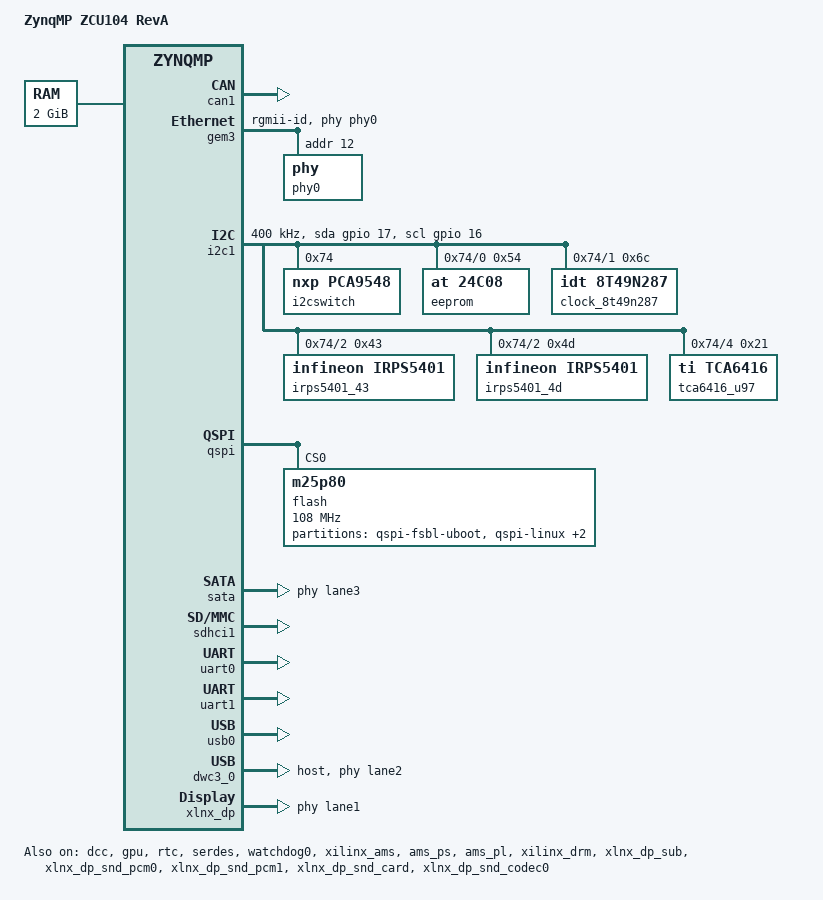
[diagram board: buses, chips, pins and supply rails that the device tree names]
/*
 * dts file for Xilinx ZynqMP ZCU104
 *
 * (C) Copyright 2017, Xilinx, Inc.
 *
 * Michal Simek <michal.simek@xilinx.com>
 *
 * This program is free software; you can redistribute it and/or
 * modify it under the terms of the GNU General Public License as
 * published by the Free Software Foundation; either version 2 of
 * the License, or (at your option) any later version.
 */

/dts-v1/;

#define PLATFORM_ZCU104

#include "zynqmp.dtsi"
#include "zynqmp-clk-ccf.dtsi"
#include <dt-bindings/gpio/gpio.h>
#include <dt-bindings/phy/phy.h>

#define CONFIG_USE_CSI
#define CONFIG_USE_SDSOC
#define CONFIG_USE_HDMI_TX
#define CONFIG_USE_HDMI_RX
#include "trd/pl.dtsi"
#include "trd/li-imx274mipi-fmc.dtsi"

/ {
	model = "ZynqMP ZCU104 RevA";
	compatible = "xlnx,zynqmp-zcu104-revA", "xlnx,zynqmp-zcu104", "xlnx,zynqmp";

	aliases {
		ethernet0 = &gem3;
		gpio0 = &gpio;
		i2c0 = &i2c1;
		mmc0 = &sdhci1;
		rtc0 = &rtc;
		serial0 = &uart0;
		serial1 = &uart1;
		serial2 = &dcc;
		spi0 = &qspi;
		usb0 = &usb0;
	};

	chosen {
		bootargs = "earlycon clk_ignore_unused earlyprintk uio_pdrv_genirq.of_id=xlnx,generic-uio consoleblank=0 cma=128M";
		stdout-path = "serial0:115200n8";
	};

	memory@0 {
		device_type = "memory";
		reg = <0x0 0x0 0x0 0x80000000>;
	};
};

&amba {
	/* IDT 8t349n287 outputs */
	hdmi_dru_clk: clock-generator-hdmi-dru-clk {
		compatible = "fixed-clock";
		#clock-cells = <0>;
		clock-frequency = <156250000>;
	};
};

&can1 {
	status = "okay";
};

&dcc {
	status = "okay";
};

&gem3 {
	status = "okay";
	phy-handle = <&phy0>;
	phy-mode = "rgmii-id";
	phy0: phy@c {
		reg = <0xc>;
		ti,rx-internal-delay = <0x8>;
		ti,tx-internal-delay = <0xa>;
		ti,fifo-depth = <0x1>;
		ti,rxctrl-strap-worka;
	};
};

&gpio {
	status = "okay";
};

&gpu {
	status = "okay";
};

&i2c1 {
	status = "okay";
	clock-frequency = <400000>;
	scl-gpios = <&gpio 16 GPIO_ACTIVE_HIGH>;
	sda-gpios = <&gpio 17 GPIO_ACTIVE_HIGH>;

	/* Another connection to this bus via PL i2c via PCA9306 - u45 */
	i2cswitch@74 { /* u34 */
		compatible = "nxp,pca9548";
		#address-cells = <1>;
		#size-cells = <0>;
		reg = <0x74>;
		i2c@0 { /* i2c mw 74 0 1 */
			#address-cells = <1>;
			#size-cells = <0>;
			reg = <0>;
			/*
			 * IIC_EEPROM 1kB memory which uses 256B blocks
			 * where every block has different address.
			 *    0 - 256B address 0x54
			 * 256B - 512B address 0x55
			 * 512B - 768B address 0x56
			 * 768B - 1024B address 0x57
			 */
			eeprom@54 { /* u23 */
				compatible = "at,24c08";
				reg = <0x54>;
				#address-cells = <1>;
				#size-cells = <1>;
			};
		};

		i2c@1 { /* i2c mw 74 0 2 */
			#address-cells = <1>;
			#size-cells = <0>;
			reg = <1>;
			clock_8t49n287: 8t49n287@6c { /* 8T49N287 - u182 */
				compatible = "idt,8t49n287";
				reg = <0x6c>;
			};
		};

		i2c@2 { /* i2c mw 74 0 4 */
			#address-cells = <1>;
			#size-cells = <0>;
			reg = <2>;
			irps5401_43: irps54012@43 { /* IRPS5401 - u175 */
				#clock-cells = <0>;
				compatible = "infineon,irps5401";
				reg = <0x43>;
			};
			irps5401_4d: irps54012@4d { /* IRPS5401 - u180 */
				#clock-cells = <0>;
				compatible = "infineon,irps5401";
				reg = <0x4d>;
			};
		};

		i2c@4 { /* i2c mw 74 0 8 */
			#address-cells = <1>;
			#size-cells = <0>;
			reg = <4>;
			/* FIXME Npt detected */
			tca6416_u97: gpio@21 { /* FIXME enable it by i2c mw 21 6 0 */
				compatible = "ti,tca6416";
				reg = <0x21>;
				gpio-controller;
				#gpio-cells = <2>;
				/*
				 * IRQ not connected
				 * Lines:
				 * 0 - IRPS5401_ALERT_B
				 * 1 - HDMI_8T49N241_INT_ALM
				 * 2 - MAX6643_OT_B
				 * 3 - MAX6643_FANFAIL_B
				 * 5 - IIC_MUX_RESET_B
				 * 6 - GEM3_EXP_RESET_B
				 * 7 - FMC_LPC_PRSNT_M2C_B
				 * 4, 10 - 17 - not connected
				 */
			};
		};

		i2c@5 { /* i2c mw 74 0 10 */ /* FMC_LPC */
			#address-cells = <1>;
			#size-cells = <0>;
			reg = <5>;
		};

		i2c@7 { /* i2c mw 74 0 14 */ /* DDR4_SODIMM */
			#address-cells = <1>;
			#size-cells = <0>;
			reg = <7>;
		};

		/* 3, 6 not connected */
	};
};

&qspi {
	status = "okay";
	flash@0 {
		compatible = "m25p80"; /* n25q512a 128MiB */
		#address-cells = <1>;
		#size-cells = <1>;
		reg = <0x0>;
		spi-tx-bus-width = <1>;
		spi-rx-bus-width = <4>;
		spi-max-frequency = <108000000>; /* Based on DC1 spec */
		partition@qspi-fsbl-uboot { /* for testing purpose */
			label = "qspi-fsbl-uboot";
			reg = <0x0 0x100000>;
		};
		partition@qspi-linux { /* for testing purpose */
			label = "qspi-linux";
			reg = <0x100000 0x500000>;
		};
		partition@qspi-device-tree { /* for testing purpose */
			label = "qspi-device-tree";
			reg = <0x600000 0x20000>;
		};
		partition@qspi-rootfs { /* for testing purpose */
			label = "qspi-rootfs";
			reg = <0x620000 0x5E0000>;
		};
	};
};

&rtc {
	status = "okay";
};

&sata {
	status = "okay";
	/* SATA OOB timing settings */
	ceva,p0-cominit-params = /bits/ 8 <0x18 0x40 0x18 0x28>;
	ceva,p0-comwake-params = /bits/ 8 <0x06 0x14 0x08 0x0E>;
	ceva,p0-burst-params = /bits/ 8 <0x13 0x08 0x4A 0x06>;
	ceva,p0-retry-params = /bits/ 16 <0x96A4 0x3FFC>;
	ceva,p1-cominit-params = /bits/ 8 <0x18 0x40 0x18 0x28>;
	ceva,p1-comwake-params = /bits/ 8 <0x06 0x14 0x08 0x0E>;
	ceva,p1-burst-params = /bits/ 8 <0x13 0x08 0x4A 0x06>;
	ceva,p1-retry-params = /bits/ 16 <0x96A4 0x3FFC>;
	phy-names = "sata-phy";
	phys = <&lane3 PHY_TYPE_SATA 1 1 125000000>;
};

/* SD1 with level shifter */
&sdhci1 {
	status = "okay";
	no-1-8-v;
	xlnx,mio_bank = <1>;
	disable-wp;
};

&serdes {
	status = "okay";
};

&uart0 {
	status = "okay";
};

&uart1 {
	status = "okay";
};

/* ULPI SMSC USB3320 */
&usb0 {
	status = "okay";
};

&dwc3_0 {
	status = "okay";
	dr_mode = "host";
	snps,usb3_lpm_capable;
	phy-names = "usb3-phy";
	phys = <&lane2 PHY_TYPE_USB3 0 2 26000000>;
	maximum-speed = "super-speed";
};

&watchdog0 {
	status = "okay";
};

&xilinx_ams {
	status = "okay";
};

&ams_ps {
	status = "okay";
};

&ams_pl {
	status = "okay";
};

&xilinx_drm {
	status = "okay";
};

&xlnx_dp {
	status = "okay";
	phy-names = "dp-phy0", "dp-phy1";
	phys = <&lane1 PHY_TYPE_DP 0 3 27000000>, <&lane0 PHY_TYPE_DP 1 3 27000000>;
};

&xlnx_dp_sub {
	status = "okay";
};

&xlnx_dp_snd_pcm0 {
	status = "okay";
};

&xlnx_dp_snd_pcm1 {
	status = "okay";
};

&xlnx_dp_snd_card {
	status = "okay";
};

&xlnx_dp_snd_codec0 {
	status = "okay";
};

&xlnx_dpdma {
	status = "okay";
};
